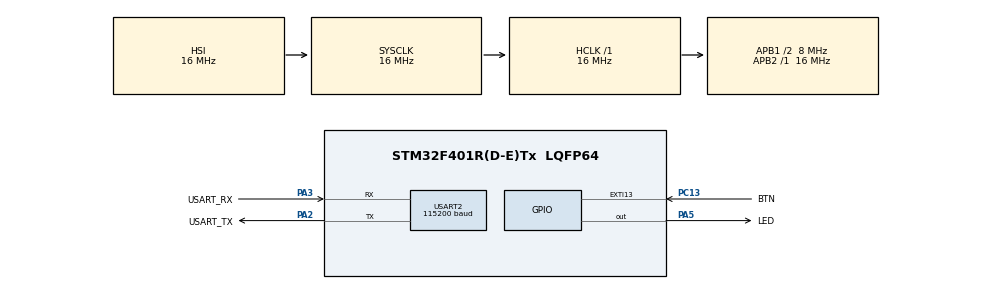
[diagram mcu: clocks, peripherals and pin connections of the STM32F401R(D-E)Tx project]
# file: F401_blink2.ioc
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Mcu.Family=STM32F4
Mcu.Name=STM32F401R(D-E)Tx
Mcu.Package=LQFP64
NVIC.EXTI15_10_IRQn=true\:0\:0\:false\:false\:true\:true\:true\:true
NVIC.PriorityGroup=NVIC_PRIORITYGROUP_4
PA13.GPIO_Label=TMS
PA13.Mode=Serial_Wire
PA13.Signal=SYS_JTMS-SWDIO
PA14.GPIO_Label=TCK
PA14.Mode=Serial_Wire
PA14.Signal=SYS_JTCK-SWCLK
PA2.GPIO_Label=USART_TX
PA2.GPIO_Mode=GPIO_MODE_AF_PP
PA2.GPIO_PuPd=GPIO_NOPULL
PA2.GPIO_Speed=GPIO_SPEED_FREQ_LOW
PA2.Mode=Asynchronous
PA2.Signal=USART2_TX
PA3.GPIO_Label=USART_RX
PA3.GPIO_Mode=GPIO_MODE_AF_PP
PA3.GPIO_PuPd=GPIO_NOPULL
PA3.GPIO_Speed=GPIO_SPEED_FREQ_LOW
PA3.Mode=Asynchronous
PA3.Signal=USART2_RX
PA5.GPIO_Label=LED
PA5.GPIO_Mode=GPIO_MODE_OUTPUT_PP
PA5.GPIO_ModeDefaultOutputPP=GPIO_MODE_OUTPUT_PP
PA5.GPIO_PuPd=GPIO_NOPULL
PA5.GPIO_Speed=GPIO_SPEED_FREQ_LOW
PA5.PinState=GPIO_PIN_SET
PA5.Signal=GPIO_Output
PB3.GPIO_Label=SWO
PB3.Signal=SYS_JTDO-SWO
PC13-ANTI_TAMP.GPIO_Label=BTN
PC13-ANTI_TAMP.GPIO_ModeDefaultEXTI=GPIO_MODE_IT_RISING
PC13-ANTI_TAMP.GPIO_PuPd=GPIO_PULLUP
PC13-ANTI_TAMP.Signal=GPXTI13
PC14-OSC32_IN.Signal=RCC_OSC32_IN
PC15-OSC32_OUT.Signal=RCC_OSC32_OUT
PH0\ -\ OSC_IN.Signal=RCC_OSC_IN
PH1\ -\ OSC_OUT.Signal=RCC_OSC_OUT
ProjectManager.HeapSize=0x200
ProjectManager.StackSize=0x400
ProjectManager.TargetToolchain=STM32CubeIDE
RCC.48MHZClocksFreq_Value=48000000
RCC.AHBFreq_Value=16000000
RCC.APB1CLKDivider=RCC_HCLK_DIV2
RCC.APB1Freq_Value=8000000
RCC.APB1TimFreq_Value=16000000
RCC.APB2Freq_Value=16000000
RCC.APB2TimFreq_Value=16000000
RCC.CortexFreq_Value=16000000
RCC.HCLKFreq_Value=16000000
RCC.HSE_VALUE=25000000
RCC.HSI_VALUE=16000000
RCC.LSE_VALUE=32768
RCC.PLLM=8
RCC.PLLN=168
RCC.PLLQ=7
RCC.SYSCLKFreq_VALUE=16000000
RCC.VCOOutputFreq_Value=336000000
USART2.BaudRate=115200
USART2.VirtualMode=VM_ASYNC
board=NUCLEO-F401RE

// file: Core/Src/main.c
/* USER CODE BEGIN Header */
/**
  ******************************************************************************
  * @file           : main.c
  * @brief          : Main program body
  ******************************************************************************
  * @attention
  *
  * Copyright (c) 2025 STMicroelectronics.
  * All rights reserved.
  *
  * This software is licensed under terms that can be found in the LICENSE file
  * in the root directory of this software component.
  * If no LICENSE file comes with this software, it is provided AS-IS.
  *
  ******************************************************************************
  */
/* USER CODE END Header */
#include "main.h"

/* USER CODE BEGIN Includes */
#include <stdio.h>
/* USER CODE END Includes */

UART_HandleTypeDef huart2;

/* USER CODE BEGIN PV */
uint8_t btn_press = 0;

uint16_t blink_delays[] = {
        500,
        250,
        100
};

uint8_t blink_delay = 0;
/* USER CODE END PV */

void SystemClock_Config(void);
static void MX_GPIO_Init(void);
static void MX_USART2_UART_Init(void);

/* USER CODE BEGIN 0 */
int _write(int fd, char* ptr, int len){
    HAL_StatusTypeDef hstatus;

    if (fd == 1 || fd == 2) {
        hstatus = HAL_UART_Transmit(&huart2, (uint8_t *) ptr, len, HAL_MAX_DELAY);
        if (hstatus == HAL_OK)
            return len;
        else
            return -1;
    }
    return -1;
}

void HAL_GPIO_EXTI_Callback(uint16_t GPIO_Pin){
    if (GPIO_Pin == BTN_Pin){
        btn_press = 1;
    }
}
/* USER CODE END 0 */

int main(void)
{

  /* MCU Configuration--------------------------------------------------------*/

  /* Reset of all peripherals, Initializes the Flash interface and the Systick. */
  HAL_Init();

  /* Configure the system clock */
  SystemClock_Config();

  /* Initialize all configured peripherals */
  MX_GPIO_Init();
  MX_USART2_UART_Init();
  /* USER CODE BEGIN 2 */
  printf("Blink2 Starting\n");
  /* USER CODE END 2 */

  /* Infinite loop */
  /* USER CODE BEGIN WHILE */

  uint32_t now = 0, next_blink = 500, next_tick = 1000, loop_cnt = 0;

  while (1){

      now = HAL_GetTick();

      if (now >= next_blink){

          printf("Toggling GPIO\n");

          HAL_GPIO_TogglePin(LED_GPIO_Port, LED_Pin);

          next_blink = now + blink_delays[blink_delay];

      }
      if (now >= next_tick){
          printf("Tick %lu (loop_cnt = %lu)\n", now/ 1000, loop_cnt);

          loop_cnt = 0;
          next_tick = now + 1000;

      }

      if (btn_press) {
          printf("Button pressed\n");

          ++blink_delay;
          if (blink_delay >= sizeof(blink_delays) / sizeof(blink_delays[0])) blink_delay = 0;
          // every time I press the button, it shortens delay until it reaches the size of the array
          btn_press = 0;
      }

      ++loop_cnt;
  }
    /* USER CODE END WHILE */

}

void SystemClock_Config(void)
{
  RCC_OscInitTypeDef RCC_OscInitStruct = {0};
  RCC_ClkInitTypeDef RCC_ClkInitStruct = {0};

  /** Configure the main internal regulator output voltage
  */
  __HAL_RCC_PWR_CLK_ENABLE();
  __HAL_PWR_VOLTAGESCALING_CONFIG(PWR_REGULATOR_VOLTAGE_SCALE2);

  /** Initializes the RCC Oscillators according to the specified parameters
  * in the RCC_OscInitTypeDef structure.
  */
  RCC_OscInitStruct.OscillatorType = RCC_OSCILLATORTYPE_HSI;
  RCC_OscInitStruct.HSIState = RCC_HSI_ON;
  RCC_OscInitStruct.HSICalibrationValue = RCC_HSICALIBRATION_DEFAULT;
  RCC_OscInitStruct.PLL.PLLState = RCC_PLL_NONE;
  if (HAL_RCC_OscConfig(&RCC_OscInitStruct) != HAL_OK)
  {
    Error_Handler();
  }

  /** Initializes the CPU, AHB and APB buses clocks
  */
  RCC_ClkInitStruct.ClockType = RCC_CLOCKTYPE_HCLK|RCC_CLOCKTYPE_SYSCLK
                              |RCC_CLOCKTYPE_PCLK1|RCC_CLOCKTYPE_PCLK2;
  RCC_ClkInitStruct.SYSCLKSource = RCC_SYSCLKSOURCE_HSI;
  RCC_ClkInitStruct.AHBCLKDivider = RCC_SYSCLK_DIV1;
  RCC_ClkInitStruct.APB1CLKDivider = RCC_HCLK_DIV2;
  RCC_ClkInitStruct.APB2CLKDivider = RCC_HCLK_DIV1;

  if (HAL_RCC_ClockConfig(&RCC_ClkInitStruct, FLASH_LATENCY_0) != HAL_OK)
  {
    Error_Handler();
  }
}

static void MX_USART2_UART_Init(void)
{

  huart2.Instance = USART2;
  huart2.Init.BaudRate = 115200;
  huart2.Init.WordLength = UART_WORDLENGTH_8B;
  huart2.Init.StopBits = UART_STOPBITS_1;
  huart2.Init.Parity = UART_PARITY_NONE;
  huart2.Init.Mode = UART_MODE_TX_RX;
  huart2.Init.HwFlowCtl = UART_HWCONTROL_NONE;
  huart2.Init.OverSampling = UART_OVERSAMPLING_16;
  if (HAL_UART_Init(&huart2) != HAL_OK)
  {
    Error_Handler();
  }

}

static void MX_GPIO_Init(void)
{
  GPIO_InitTypeDef GPIO_InitStruct = {0};

  /* GPIO Ports Clock Enable */
  __HAL_RCC_GPIOC_CLK_ENABLE();
  __HAL_RCC_GPIOH_CLK_ENABLE();
  __HAL_RCC_GPIOA_CLK_ENABLE();
  __HAL_RCC_GPIOB_CLK_ENABLE();

  /*Configure GPIO pin Output Level */
  HAL_GPIO_WritePin(LED_GPIO_Port, LED_Pin, GPIO_PIN_SET);

  /*Configure GPIO pin : BTN_Pin */
  GPIO_InitStruct.Pin = BTN_Pin;
  GPIO_InitStruct.Mode = GPIO_MODE_IT_RISING;
  GPIO_InitStruct.Pull = GPIO_PULLUP;
  HAL_GPIO_Init(BTN_GPIO_Port, &GPIO_InitStruct);

  /*Configure GPIO pin : LED_Pin */
  GPIO_InitStruct.Pin = LED_Pin;
  GPIO_InitStruct.Mode = GPIO_MODE_OUTPUT_PP;
  GPIO_InitStruct.Pull = GPIO_NOPULL;
  GPIO_InitStruct.Speed = GPIO_SPEED_FREQ_LOW;
  HAL_GPIO_Init(LED_GPIO_Port, &GPIO_InitStruct);

  /* EXTI interrupt init*/
  HAL_NVIC_SetPriority(EXTI15_10_IRQn, 0, 0);
  HAL_NVIC_EnableIRQ(EXTI15_10_IRQn);

}

void Error_Handler(void)
{
  __disable_irq();
  while (1)
  {
  }
}
